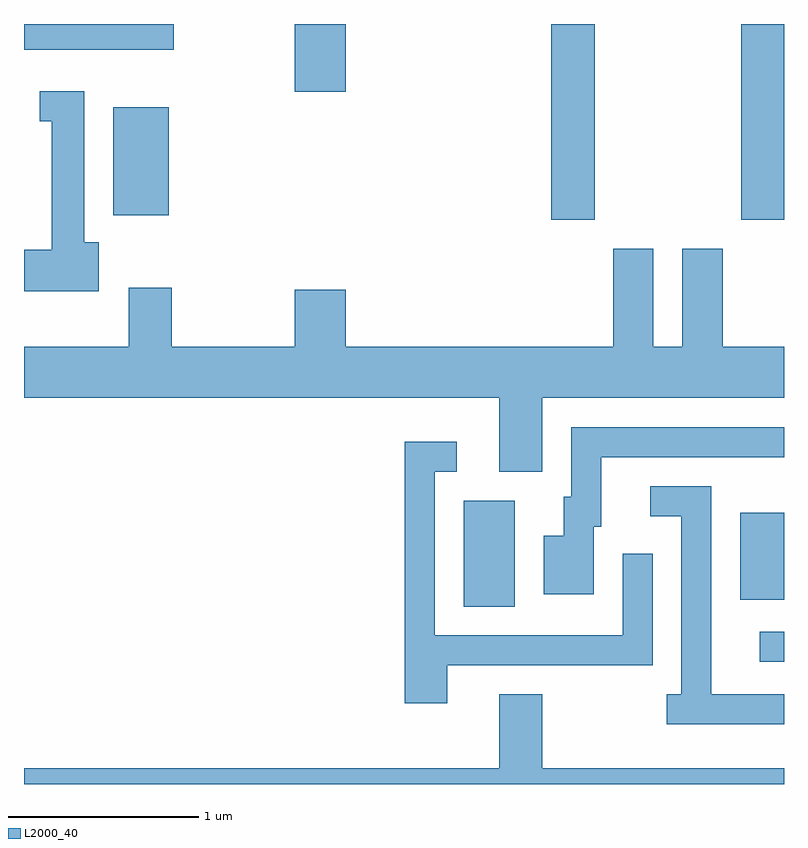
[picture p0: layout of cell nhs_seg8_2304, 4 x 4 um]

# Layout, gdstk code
import gdstk
lib = gdstk.Library(unit=1e-6, precision=1e-09)
def R(c, l, rs):  # rectangles x0, y0, x1, y1
    for r in rs: c.add(gdstk.rectangle(r[:2], r[2:], *l))
def P(c, l, *ps):  # polygons
    for p in ps: c.add(gdstk.Polygon(p, *l))
L2000_40 = (2000, 40)

nhs_seg8_2304 = lib.new_cell('nhs_seg8_2304')
R(nhs_seg8_2304, L2000_40, [(257.483,1874.986,257.611,1875.144), (255.926,1875.276,256.194,1875.834), (257.381,1875.311,257.611,1875.769), (256.386,1877.311,256.614,1878.342), (257.386,1877.311,257.611,1878.342), (254.081,1877.336,254.374,1877.904), (255.036,1877.986,255.304,1878.342), (253.611,1878.206,254.398,1878.342)])
P(nhs_seg8_2304, L2000_40, [(254.004,1877.194),(253.929,1877.194),(253.929,1877.989),(253.693,1877.989),(253.693,1877.831),(253.756,1877.831),(253.756,1877.154),(253.611,1877.154),(253.611,1876.936),(254.004,1876.936)],
  [(256.339,1876.376),(257.611,1876.376),(257.611,1876.644),(257.289,1876.644),(257.289,1877.159),(257.076,1877.159),(257.076,1876.644),(256.924,1876.644),(256.924,1877.159),(256.711,1877.159),(256.711,1876.644),(255.304,1876.644),(255.304,1876.944),(255.036,1876.944),(255.036,1876.644),(254.389,1876.644),(254.389,1876.954),(254.161,1876.954),(254.161,1876.644),(253.611,1876.644),(253.611,1876.376),(256.111,1876.376),(256.111,1875.986),(256.339,1875.986)],
  [(256.609,1875.696),(256.649,1875.696),(256.649,1876.061),(257.611,1876.061),(257.611,1876.219),(256.491,1876.219),(256.491,1875.854),(256.451,1875.854),(256.451,1875.649),(256.346,1875.649),(256.346,1875.341),(256.609,1875.341)],
  [(255.839,1874.966),(256.919,1874.966),(256.919,1875.553),(256.761,1875.553),(256.761,1875.124),(255.774,1875.124),(255.774,1875.986),(255.888,1875.986),(255.888,1876.144),(255.616,1876.144),(255.616,1874.766),(255.839,1874.766)],
  [(257.611,1874.814),(257.229,1874.814),(257.229,1875.909),(256.908,1875.909),(256.908,1875.751),(257.071,1875.751),(257.071,1874.814),(256.993,1874.814),(256.993,1874.656),(257.611,1874.656)],
  [(257.611,1874.424),(256.339,1874.424),(256.339,1874.814),(256.111,1874.814),(256.111,1874.424),(253.611,1874.424),(253.611,1874.342),(257.611,1874.342)])

lib.write_gds('nhs_seg8_2304.gds')
